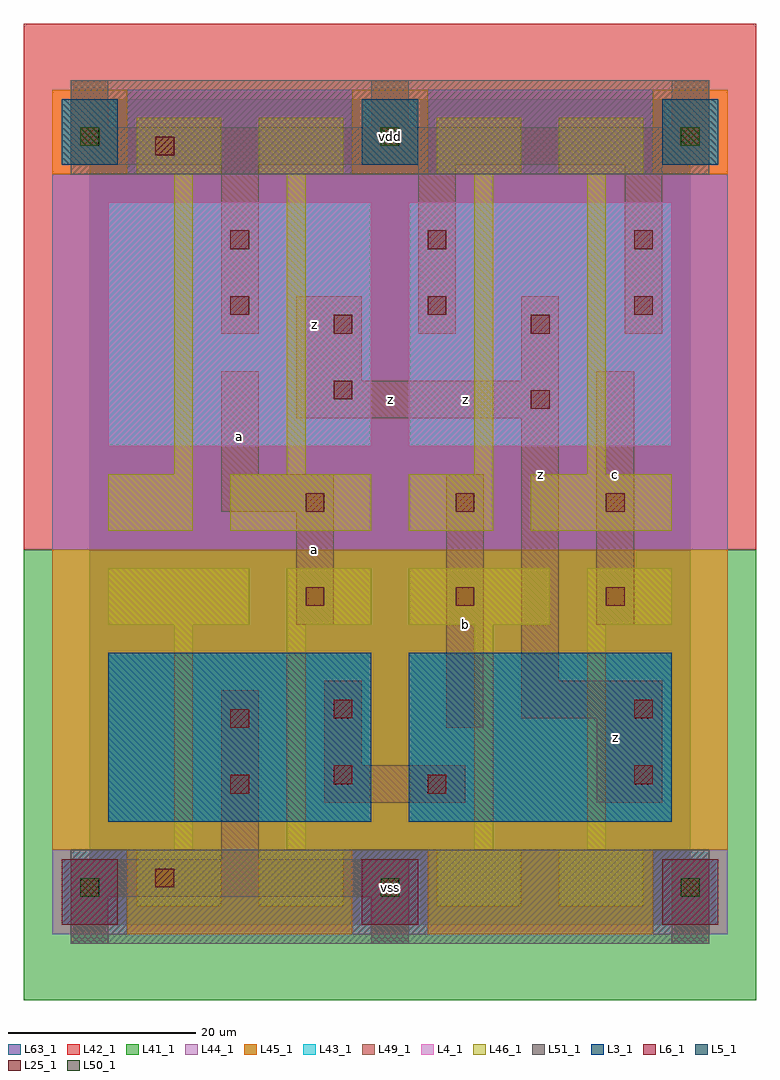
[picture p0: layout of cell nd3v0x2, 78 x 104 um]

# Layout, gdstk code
import gdstk
lib = gdstk.Library(unit=1e-6, precision=1e-09)
def R(c, l, rs):  # rectangles x0, y0, x1, y1
    for r in rs: c.add(gdstk.rectangle(r[:2], r[2:], *l))
def A(c, l, x, y, w, h, nx, ny, dx, dy):  # array of equal rectangles
    R(c, l, [(x+i*dx, y+j*dy, x+i*dx+w, y+j*dy+h) for i in range(nx) for j in range(ny)])
L3_1 = (3, 1)
L4_1 = (4, 1)
L5_1 = (5, 1)
L6_1 = (6, 1)
L25_1 = (25, 1)
L41_1 = (41, 1)
L42_1 = (42, 1)
L43_1 = (43, 1)
L44_1 = (44, 1)
L45_1 = (45, 1)
L46_1 = (46, 1)
L49_1 = (49, 1)
L50_1 = (50, 1)
L51_1 = (51, 1)
L63_1 = (63, 1)

nd3v0x2 = lib.new_cell('nd3v0x2')
R(nd3v0x2, L3_1, [(2,11,30,29), (34,11,62,29)])
R(nd3v0x2, L4_1, [(2,51,30,77), (34,51,62,77)])
A(nd3v0x2, L5_1, -3, 81, 6, 7, 3, 1, 32, 0)
R(nd3v0x2, L6_1, [(-3,0,3,7), (-3,0,3,7), (29,0,35,7), (29,0,35,7), (61,0,67,7), (61,0,67,7)])
A(nd3v0x2, L25_1, -1, 3, 2, 2, 3, 2, 32, 80)
A(nd3v0x2, L25_1, 23, 34, 2, 2, 3, 2, 16, 10)
R(nd3v0x2, L25_1, [(7,4,9,6), (15,14,17,16), (36,14,38,16), (26,15,28,17), (58,15,60,17), (15,21,17,23), (26,22,28,24), (58,22,60,24), (47,55,49,57), (26,56,28,58), (26,63,28,65), (47,63,49,65), (15,65,17,67), (36,65,38,67), (58,65,60,67), (15,72,17,74), (36,72,38,74), (58,72,60,74), (7,82,9,84)])
R(nd3v0x2, L41_1, [(-7,-8,71,40)])
R(nd3v0x2, L42_1, [(-7,40,71,96)])
A(nd3v0x2, L43_1, -3, 0, 6, 7, 3, 2, 32, 81)
R(nd3v0x2, L43_1, [(2,11,30,29), (34,11,62,29), (2,51,30,77), (34,51,62,77)])
A(nd3v0x2, L44_1, -4, -1, 8, 9, 3, 1, 32, 0)
R(nd3v0x2, L44_1, [(-4,40,68,80), (4,80,28,89), (36,80,60,89)])
A(nd3v0x2, L45_1, -4, 80, 8, 9, 3, 1, 32, 0)
R(nd3v0x2, L45_1, [(4,-1,28,8), (36,-1,60,8), (-4,8,68,40)])
R(nd3v0x2, L46_1, [(5,2,14,8), (18,2,27,8), (37,2,46,8), (50,2,59,8), (9,8,11,32), (21,8,23,32), (41,8,43,32), (53,8,55,32), (2,32,17,38), (21,32,30,38), (34,32,49,38), (53,32,62,38), (2,42,11,48), (15,42,30,48), (34,42,43,48), (47,42,62,48), (9,48,11,80), (21,48,23,80), (41,48,43,80), (53,48,55,80), (5,80,14,86), (18,80,27,86), (37,80,46,86), (50,80,59,86)])
A(nd3v0x2, L49_1, -2, 85, 4, 5, 3, 1, 32, 0)
R(nd3v0x2, L49_1, [(-2,-2,2,3), (30,-2,34,3), (62,-2,66,7), (-2,3,34,7), (14,7,18,25), (25,13,40,17), (54,13,61,22), (25,17,29,26), (38,21,42,48), (46,22,61,26), (46,26,50,54), (22,32,26,44), (54,32,58,59), (14,44,26,48), (14,48,18,59), (22,54,50,58), (22,58,29,67), (46,58,50,67), (14,63,18,81), (35,63,39,81), (57,63,61,81), (-2,81,66,85)])
A(nd3v0x2, L50_1, -1, 3, 2, 2, 3, 2, 32, 80)
R(nd3v0x2, L51_1, [(-2,-2,66,8), (-2,80,66,90)])
R(nd3v0x2, L63_1, [(0,0,64,88)])
nd3v0x2.add(gdstk.Label('a', (16,52), layer=49, texttype=1))
nd3v0x2.add(gdstk.Label('a', (24,40), layer=49, texttype=1))
nd3v0x2.add(gdstk.Label('z', (32,56), layer=49, texttype=1))
nd3v0x2.add(gdstk.Label('z', (24,64), layer=49, texttype=1))
nd3v0x2.add(gdstk.Label('b', (40,32), layer=49, texttype=1))
nd3v0x2.add(gdstk.Label('z', (48,48), layer=49, texttype=1))
nd3v0x2.add(gdstk.Label('z', (40,56), layer=49, texttype=1))
nd3v0x2.add(gdstk.Label('z', (56,20), layer=49, texttype=1))
nd3v0x2.add(gdstk.Label('c', (56,48), layer=49, texttype=1))
nd3v0x2.add(gdstk.Label('vss', (32,4), layer=51, texttype=1))
nd3v0x2.add(gdstk.Label('vdd', (32,84), layer=51, texttype=1))

lib.write_gds('nd3v0x2.gds')
